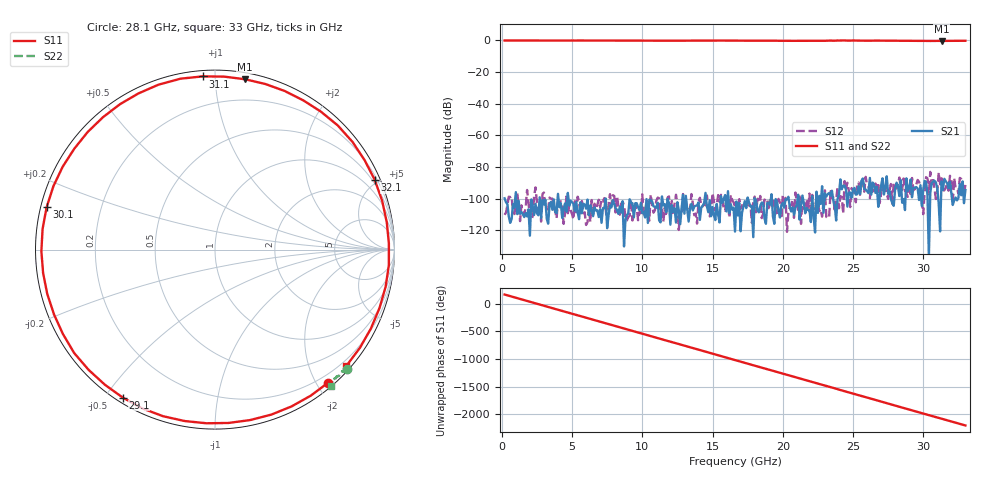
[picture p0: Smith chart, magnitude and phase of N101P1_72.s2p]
# GHZ S RI R 50
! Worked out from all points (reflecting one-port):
!   329 points, 200 MHz to 33 GHz, reference 50 ohm
!   lowest |S11| = -0.3 dB at 31.3 GHz (marker M1), VSWR 54.17, Z = 2.23 + j59.5 ohm
!   phase of S11 starts at 165 deg and turns -2367 deg over the sweep
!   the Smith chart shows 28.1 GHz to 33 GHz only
!   S11 on the Smith chart (normalised r, x): 28.1 GHz: 0.08, -2.16; 29.1 GHz: 0.02, -0.55; 30.1 GHz: 0.02, +0.12; 31.1 GHz: 0.03, +0.93; 32.1 GHz: 0.35, +4.76; 33 GHz: 0.09, -2.64
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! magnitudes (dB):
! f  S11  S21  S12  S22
! 200 MHz  0.0  -99.7  -110.2  0.0
! 5.7 GHz  0.0  -109.1  -101.5  0.0
! 11.2 GHz  -0.2  -113.7  -99.8  -0.1
! 16.6 GHz  -0.1  -120.8  -104.9  0.0
! 20.2 GHz  -0.2  -100.3  -99.4  -0.2
! 22.1 GHz  -0.2  -98.2  -97.6  -0.1
! 23 GHz  -0.2  -96.7  -94.7  0.0
! 23.4 GHz  -0.1  -98.0  -95.3  0.0
! 23.6 GHz  -0.2  -101.1  -99.1  0.0
! 23.9 GHz  0.0  -100.0  -92.8  0.2
! 24.3 GHz  0.0  -91.9  -109.5  0.0
! 24.7 GHz  -0.1  -96.2  -94.7  0.0
! 25 GHz  0.0  -94.3  -95.2  0.1
! 25.6 GHz  -0.1  -88.8  -89.7  0.1
! 27.6 GHz  -0.2  -95.1  -94.9  0.0
! 28.1 GHz  -0.2  -89.8  -93.6  -0.1
! 29.1 GHz  -0.3  -87.9  -97.1  -0.1
! 30.1 GHz  -0.3  -88.7  -95.2  -0.1
! 31.1 GHz  -0.3  -103.1  -83.4  -0.2
! 31.3 GHz  -0.3  -89.1  -87.1  -0.2
! 32.1 GHz  -0.3  -104.0  -103.3  -0.2
! 33 GHz  -0.2  -94.5  -91.3  0.0
